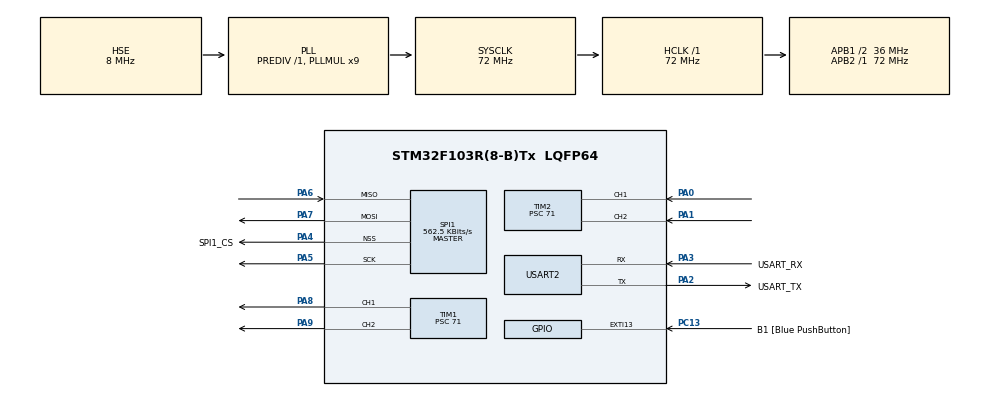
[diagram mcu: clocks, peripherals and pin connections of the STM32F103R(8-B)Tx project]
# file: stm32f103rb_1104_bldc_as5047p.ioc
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Mcu.Family=STM32F1
Mcu.Name=STM32F103R(8-B)Tx
Mcu.Package=LQFP64
NVIC.EXTI15_10_IRQn=true\:0\:0\:false\:false\:true\:true\:true\:true
NVIC.PriorityGroup=NVIC_PRIORITYGROUP_4
NVIC.TIM2_IRQn=true\:0\:0\:false\:false\:true\:true\:true\:true
PA0-WKUP.GPIO_PuPd=GPIO_PULLDOWN
PA0-WKUP.Signal=S_TIM2_CH1_ETR
PA1.Signal=S_TIM2_CH2
PA13.GPIO_Label=TMS
PA13.Mode=Serial_Wire
PA13.Signal=SYS_JTMS-SWDIO
PA14.GPIO_Label=TCK
PA14.Mode=Serial_Wire
PA14.Signal=SYS_JTCK-SWCLK
PA2.GPIO_Label=USART_TX
PA2.GPIO_Mode=GPIO_MODE_AF_PP
PA2.GPIO_PuPd=GPIO_NOPULL
PA2.GPIO_Speed=GPIO_SPEED_FREQ_LOW
PA2.Mode=Asynchronous
PA2.Signal=USART2_TX
PA3.GPIO_Label=USART_RX
PA3.GPIO_Mode=GPIO_MODE_AF_PP
PA3.GPIO_PuPd=GPIO_NOPULL
PA3.GPIO_Speed=GPIO_SPEED_FREQ_LOW
PA3.Mode=Asynchronous
PA3.Signal=USART2_RX
PA4.GPIO_Label=SPI1_CS
PA4.Mode=NSS_Signal_Hard_Output
PA4.Signal=SPI1_NSS
PA5.Mode=Full_Duplex_Master
PA5.Signal=SPI1_SCK
PA6.Mode=Full_Duplex_Master
PA6.Signal=SPI1_MISO
PA7.Mode=Full_Duplex_Master
PA7.Signal=SPI1_MOSI
PA8.Signal=S_TIM1_CH1
PA9.Signal=S_TIM1_CH2
PC13-TAMPER-RTC.GPIO_Label=B1 [Blue PushButton]
PC13-TAMPER-RTC.GPIO_PuPd=GPIO_NOPULL
PC13-TAMPER-RTC.Signal=GPXTI13
PC14-OSC32_IN.Mode=LSE-External-Oscillator
PC14-OSC32_IN.Signal=RCC_OSC32_IN
PC15-OSC32_OUT.Mode=LSE-External-Oscillator
PC15-OSC32_OUT.Signal=RCC_OSC32_OUT
PD0-OSC_IN.Mode=HSE-External-Clock-Source
PD0-OSC_IN.Signal=RCC_OSC_IN
PD1-OSC_OUT.Mode=HSE-External-Clock-Source
PD1-OSC_OUT.Signal=RCC_OSC_OUT
ProjectManager.HeapSize=0x200
ProjectManager.StackSize=0x400
ProjectManager.TargetToolchain=STM32CubeIDE
RCC.AHBFreq_Value=72000000
RCC.APB1CLKDivider=RCC_HCLK_DIV2
RCC.APB1Freq_Value=36000000
RCC.APB1TimFreq_Value=72000000
RCC.APB2Freq_Value=72000000
RCC.APB2TimFreq_Value=72000000
RCC.HCLKFreq_Value=72000000
RCC.PLLMUL=RCC_PLL_MUL9
RCC.PLLSourceVirtual=RCC_PLLSOURCE_HSE
RCC.RCC_MCOSource=RCC_MCO1SOURCE_HSI
RCC.RTCClockSelection=RCC_RTCCLKSOURCE_LSE
RCC.SYSCLKFreq_VALUE=72000000
RCC.SYSCLKSource=RCC_SYSCLKSOURCE_PLLCLK
RCC.USBFreq_Value=72000000
SH.S_TIM1_CH1.0=TIM1_CH1,PWM Generation1 CH1
SH.S_TIM1_CH2.0=TIM1_CH2,PWM Generation2 CH2
SH.S_TIM2_CH1_ETR.0=TIM2_CH1,Input_Capture1_from_TI1
SH.S_TIM2_CH2.0=TIM2_CH2,Input_Capture2_from_TI2
SPI1.BaudRatePrescaler=SPI_BAUDRATEPRESCALER_128
SPI1.CLKPhase=SPI_PHASE_2EDGE
SPI1.CalculateBaudRate=562.5 KBits/s
SPI1.Direction=SPI_DIRECTION_2LINES
SPI1.Mode=SPI_MODE_MASTER
SPI1.VirtualNSS=VM_NSSHARD
SPI1.VirtualType=VM_MASTER
TIM1.Channel-PWM\ Generation1\ CH1=TIM_CHANNEL_1
TIM1.Channel-PWM\ Generation2\ CH2=TIM_CHANNEL_2
TIM1.Period=19999
TIM1.Prescaler=71
TIM2.Channel-Input_Capture1_from_TI1=TIM_CHANNEL_1
TIM2.Channel-Input_Capture2_from_TI2=TIM_CHANNEL_2
TIM2.Period=65535
TIM2.Prescaler=71
USART2.VirtualMode=VM_ASYNC
VP_TIM1_VS_ClockSourceINT.Mode=Internal
VP_TIM2_VS_ClockSourceINT.Mode=Internal
board=NUCLEO-F103RB

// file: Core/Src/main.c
/* USER CODE BEGIN Header */
/**
  ******************************************************************************
  * @file           : main.c
  * @brief          : Main program body
  ******************************************************************************
  * @attention
  *
  * Copyright (c) 2024 STMicroelectronics.
  * All rights reserved.
  *
  * This software is licensed under terms that can be found in the LICENSE file
  * in the root directory of this software component.
  * If no LICENSE file comes with this software, it is provided AS-IS.
  *
  ******************************************************************************
  */
/* USER CODE END Header */
#include "main.h"

/* USER CODE BEGIN Includes */
#include <stdio.h>
#include "as5047p.h"
#ifdef __GNUC__
  #define PUTCHAR_PROTOTYPE int __io_putchar(int ch)
#else
  #define PUTCHAR_PROTOTYPE int fputc(int ch, FILE *f)
#endif /* __GNUC__ */
/* USER CODE END Includes */

SPI_HandleTypeDef hspi1;

TIM_HandleTypeDef htim1;
TIM_HandleTypeDef htim2;

UART_HandleTypeDef huart2;

/* USER CODE BEGIN PV */
as5047p_handle_t as5047p;
/* USER CODE END PV */

void SystemClock_Config(void);
static void MX_GPIO_Init(void);
static void MX_USART2_UART_Init(void);
static void MX_SPI1_Init(void);
static void MX_TIM1_Init(void);
static void MX_TIM2_Init(void);

/* USER CODE BEGIN 0 */
uint32_t prev_capture = 0;
uint32_t current_capture = 0;
uint32_t frequency = 0;

#define TIMCLOCK   72000000
#define PRESCALAR  72

uint32_t IC_Val1 = 0;
uint32_t IC_Val2 = 0;
uint32_t Difference = 0;
int Is_First_Captured = 0;

/* Measure Frequency */
//float frequency = 0;
//
//void HAL_TIM_IC_CaptureCallback(TIM_HandleTypeDef *htim)
//{
//	if (htim->Channel == HAL_TIM_ACTIVE_CHANNEL_1)
//	{
//		if (Is_First_Captured==0) // if the first rising edge is not captured
//		{
//			IC_Val1 = HAL_TIM_ReadCapturedValue(htim, TIM_CHANNEL_1); // read the first value
//			Is_First_Captured = 1;  // set the first captured as true
//		}
//
//		else   // If the first rising edge is captured, now we will capture the second edge
//		{
//			IC_Val2 = HAL_TIM_ReadCapturedValue(htim, TIM_CHANNEL_1);  // read second value
//
//			if (IC_Val2 > IC_Val1)
//			{
//				Difference = IC_Val2-IC_Val1;
//			}
//
//			else if (IC_Val1 > IC_Val2)
//			{
//				Difference = (0xffff - IC_Val1) + IC_Val2;
//			}
//
//			float refClock = TIMCLOCK/(PRESCALAR);
//
//			frequency = refClock/Difference;
//
//			__HAL_TIM_SET_COUNTER(htim, 0);  // reset the counter
//			Is_First_Captured = 0; // set it back to false
//		}
//	}
//}

/* Measure Width */
uint32_t usWidth = 0;

void HAL_TIM_IC_CaptureCallback(TIM_HandleTypeDef *htim) {
  if (htim->Channel == HAL_TIM_ACTIVE_CHANNEL_1) {
    if (Is_First_Captured == 0) {
      IC_Val1 = HAL_TIM_ReadCapturedValue(htim, TIM_CHANNEL_1);
      Is_First_Captured = 1;
    }
    else
    {
      IC_Val2 = HAL_TIM_ReadCapturedValue(htim, TIM_CHANNEL_2);

      if (IC_Val2 > IC_Val1) {
        Difference = IC_Val2 - IC_Val1;
      } else if (IC_Val1 > IC_Val2) {
        Difference = (0xFFFF - IC_Val1) + IC_Val2;
      }

      float refClock = HAL_RCC_GetPCLK1Freq();  // ?��??�PCLK1频�??
      float mFactor = 1000000 / refClock;

      float usWidth = Difference * mFactor;

      printf("Pulse Width: %.2f us\r\n", usWidth);

      __HAL_TIM_SET_COUNTER(htim, 0);
      Is_First_Captured = 0;
    }
  }
}

void printf_ENTER(){
	printf("\r\n");
}
void as5047p_spi_send(uint16_t data);
uint16_t as5047p_spi_read(void);
void as5047p_spi_select(void);
void as5047p_spi_deselect(void);
void as5047p_delay(void);

/* USER CODE END 0 */

int main(void)
{
  /* USER CODE BEGIN 1 */
	void as5047p_spi_send(uint16_t data)
	{
	  HAL_SPI_Transmit(&hspi1, (uint8_t *)&data, 1, HAL_MAX_DELAY);
	}

	uint16_t as5047p_spi_read(void)
	{
	  uint16_t data = 0;
	  HAL_SPI_Receive(&hspi1, (uint8_t *)&data, 1, HAL_MAX_DELAY);
	  return data;
	}

	void as5047p_spi_select(void)
	{
	  HAL_GPIO_WritePin(SPI1_CS_GPIO_Port, SPI1_CS_Pin, GPIO_PIN_RESET);
	}

	void as5047p_spi_deselect(void)
	{
	  HAL_GPIO_WritePin(SPI1_CS_GPIO_Port, SPI1_CS_Pin, GPIO_PIN_SET);
	}

	// For 't_CSn': High time of CSn between two transmissions, >350 ns.
	void as5047p_delay(void)
	{
	  HAL_Delay(10);
	}
  /* USER CODE END 1 */

  /* MCU Configuration--------------------------------------------------------*/

  /* Reset of all peripherals, Initializes the Flash interface and the Systick. */
  HAL_Init();

  /* Configure the system clock */
  SystemClock_Config();

  /* Initialize all configured peripherals */
  MX_GPIO_Init();
  MX_USART2_UART_Init();
  MX_SPI1_Init();
  MX_TIM1_Init();
  MX_TIM2_Init();
  /* USER CODE BEGIN 2 */
  TIM1->CCR1 = 9999;
  TIM1->CCR2 = 9999;

  HAL_TIM_PWM_Start(&htim1, TIM_CHANNEL_1);
  HAL_TIM_PWM_Start(&htim1, TIM_CHANNEL_2);
  HAL_TIM_IC_Start_IT(&htim2, TIM_CHANNEL_1);
  HAL_TIM_IC_Start_IT(&htim2, TIM_CHANNEL_2);
//  HAL_TIM_PWM_Start(&htim2, TIM_CHANNEL_1);
  printf("------------1104 DUAL BLDC speed control and encoder test--------------------------\r\n");
  as5047p_handle_t as5047p;

  as5047p_make_handle(&as5047p_spi_send,
                      &as5047p_spi_read,
                      &as5047p_spi_select,
                      &as5047p_spi_deselect,
                      &as5047p_delay,
                      &as5047p);

  as5047p_config(&as5047p, 0b00100101, 0b00000000);
  as5047p_set_zero(&as5047p, 0);

  printf("\r\nSTM32-AS5047P, Ready\r\n");
  /* USER CODE END 2 */

  /* Infinite loop */
  /* USER CODE BEGIN WHILE */
  while (1)
  {
//	  printf("test");
//	  printf_ENTER();
//	    // 读�?��?�获??
//	    current_capture = __HAL_TIM_GET_COMPARE(&htim2, TIM_CHANNEL_1);
//
//	    // 计�?��?��??
//	    if (current_capture >= prev_capture) {
//	      frequency = HAL_RCC_GetPCLK1Freq() / (current_capture - prev_capture);
//	    } else {
//	      frequency = 0;  // ?��??�溢?��等问�????
//	    }
//
//	    // ??�印频�??
//	    printf("Frequency: %lu Hz\r\n", frequency);
//
//	    prev_capture = current_capture;
//
	    HAL_Delay(100);  // ?��?��?�延迟�?�可以�?�整

	    void as5047p_spi_select();
	    //	  float angle;
	    //	  as5047p_get_angle(&as5047p, without_daec, &angle);
	    //	  printf("Angle: %3i\r\n", (int)angle);

	    	  float angle_deg;
	    	  int8_t error = as5047p_get_angle(&as5047p, 1, &angle_deg);

	    	  if (error == 0)
	    	  {
	    	      printf("Angle: %f\r\n", angle_deg);
	    	  }

	    	  uint16_t position;
	    	  error = as5047p_get_position(&as5047p, without_daec, &position);

	    	  if (error == 0)
	    	  {
	    	      printf("Raw: %5i\r\n", position);
	    	  }
    /* USER CODE END WHILE */

  }
}

void SystemClock_Config(void)
{
  RCC_OscInitTypeDef RCC_OscInitStruct = {0};
  RCC_ClkInitTypeDef RCC_ClkInitStruct = {0};

  /** Initializes the RCC Oscillators according to the specified parameters
  * in the RCC_OscInitTypeDef structure.
  */
  RCC_OscInitStruct.OscillatorType = RCC_OSCILLATORTYPE_HSE;
  RCC_OscInitStruct.HSEState = RCC_HSE_BYPASS;
  RCC_OscInitStruct.HSEPredivValue = RCC_HSE_PREDIV_DIV1;
  RCC_OscInitStruct.HSIState = RCC_HSI_ON;
  RCC_OscInitStruct.PLL.PLLState = RCC_PLL_ON;
  RCC_OscInitStruct.PLL.PLLSource = RCC_PLLSOURCE_HSE;
  RCC_OscInitStruct.PLL.PLLMUL = RCC_PLL_MUL9;
  if (HAL_RCC_OscConfig(&RCC_OscInitStruct) != HAL_OK)
  {
    Error_Handler();
  }

  /** Initializes the CPU, AHB and APB buses clocks
  */
  RCC_ClkInitStruct.ClockType = RCC_CLOCKTYPE_HCLK|RCC_CLOCKTYPE_SYSCLK
                              |RCC_CLOCKTYPE_PCLK1|RCC_CLOCKTYPE_PCLK2;
  RCC_ClkInitStruct.SYSCLKSource = RCC_SYSCLKSOURCE_PLLCLK;
  RCC_ClkInitStruct.AHBCLKDivider = RCC_SYSCLK_DIV1;
  RCC_ClkInitStruct.APB1CLKDivider = RCC_HCLK_DIV2;
  RCC_ClkInitStruct.APB2CLKDivider = RCC_HCLK_DIV1;

  if (HAL_RCC_ClockConfig(&RCC_ClkInitStruct, FLASH_LATENCY_2) != HAL_OK)
  {
    Error_Handler();
  }
}
static void MX_SPI1_Init(void)
{

  /* SPI1 parameter configuration*/
  hspi1.Instance = SPI1;
  hspi1.Init.Mode = SPI_MODE_MASTER;
  hspi1.Init.Direction = SPI_DIRECTION_2LINES;
  hspi1.Init.DataSize = SPI_DATASIZE_8BIT;
  hspi1.Init.CLKPolarity = SPI_POLARITY_LOW;
  hspi1.Init.CLKPhase = SPI_PHASE_2EDGE;
  hspi1.Init.NSS = SPI_NSS_HARD_OUTPUT;
  hspi1.Init.BaudRatePrescaler = SPI_BAUDRATEPRESCALER_128;
  hspi1.Init.FirstBit = SPI_FIRSTBIT_MSB;
  hspi1.Init.TIMode = SPI_TIMODE_DISABLE;
  hspi1.Init.CRCCalculation = SPI_CRCCALCULATION_DISABLE;
  hspi1.Init.CRCPolynomial = 10;
  if (HAL_SPI_Init(&hspi1) != HAL_OK)
  {
    Error_Handler();
  }

}

static void MX_TIM1_Init(void)
{

  TIM_ClockConfigTypeDef sClockSourceConfig = {0};
  TIM_MasterConfigTypeDef sMasterConfig = {0};
  TIM_OC_InitTypeDef sConfigOC = {0};
  TIM_BreakDeadTimeConfigTypeDef sBreakDeadTimeConfig = {0};

  htim1.Instance = TIM1;
  htim1.Init.Prescaler = 71;
  htim1.Init.CounterMode = TIM_COUNTERMODE_UP;
  htim1.Init.Period = 19999;
  htim1.Init.ClockDivision = TIM_CLOCKDIVISION_DIV1;
  htim1.Init.RepetitionCounter = 0;
  htim1.Init.AutoReloadPreload = TIM_AUTORELOAD_PRELOAD_DISABLE;
  if (HAL_TIM_Base_Init(&htim1) != HAL_OK)
  {
    Error_Handler();
  }
  sClockSourceConfig.ClockSource = TIM_CLOCKSOURCE_INTERNAL;
  if (HAL_TIM_ConfigClockSource(&htim1, &sClockSourceConfig) != HAL_OK)
  {
    Error_Handler();
  }
  if (HAL_TIM_PWM_Init(&htim1) != HAL_OK)
  {
    Error_Handler();
  }
  sMasterConfig.MasterOutputTrigger = TIM_TRGO_RESET;
  sMasterConfig.MasterSlaveMode = TIM_MASTERSLAVEMODE_DISABLE;
  if (HAL_TIMEx_MasterConfigSynchronization(&htim1, &sMasterConfig) != HAL_OK)
  {
    Error_Handler();
  }
  sConfigOC.OCMode = TIM_OCMODE_PWM1;
  sConfigOC.Pulse = 0;
  sConfigOC.OCPolarity = TIM_OCPOLARITY_HIGH;
  sConfigOC.OCNPolarity = TIM_OCNPOLARITY_HIGH;
  sConfigOC.OCFastMode = TIM_OCFAST_DISABLE;
  sConfigOC.OCIdleState = TIM_OCIDLESTATE_RESET;
  sConfigOC.OCNIdleState = TIM_OCNIDLESTATE_RESET;
  if (HAL_TIM_PWM_ConfigChannel(&htim1, &sConfigOC, TIM_CHANNEL_1) != HAL_OK)
  {
    Error_Handler();
  }
  if (HAL_TIM_PWM_ConfigChannel(&htim1, &sConfigOC, TIM_CHANNEL_2) != HAL_OK)
  {
    Error_Handler();
  }
  sBreakDeadTimeConfig.OffStateRunMode = TIM_OSSR_DISABLE;
  sBreakDeadTimeConfig.OffStateIDLEMode = TIM_OSSI_DISABLE;
  sBreakDeadTimeConfig.LockLevel = TIM_LOCKLEVEL_OFF;
  sBreakDeadTimeConfig.DeadTime = 0;
  sBreakDeadTimeConfig.BreakState = TIM_BREAK_DISABLE;
  sBreakDeadTimeConfig.BreakPolarity = TIM_BREAKPOLARITY_HIGH;
  sBreakDeadTimeConfig.AutomaticOutput = TIM_AUTOMATICOUTPUT_DISABLE;
  if (HAL_TIMEx_ConfigBreakDeadTime(&htim1, &sBreakDeadTimeConfig) != HAL_OK)
  {
    Error_Handler();
  }
  HAL_TIM_MspPostInit(&htim1);

}

static void MX_TIM2_Init(void)
{

  TIM_ClockConfigTypeDef sClockSourceConfig = {0};
  TIM_MasterConfigTypeDef sMasterConfig = {0};
  TIM_IC_InitTypeDef sConfigIC = {0};

  htim2.Instance = TIM2;
  htim2.Init.Prescaler = 71;
  htim2.Init.CounterMode = TIM_COUNTERMODE_UP;
  htim2.Init.Period = 65535;
  htim2.Init.ClockDivision = TIM_CLOCKDIVISION_DIV1;
  htim2.Init.AutoReloadPreload = TIM_AUTORELOAD_PRELOAD_DISABLE;
  if (HAL_TIM_Base_Init(&htim2) != HAL_OK)
  {
    Error_Handler();
  }
  sClockSourceConfig.ClockSource = TIM_CLOCKSOURCE_INTERNAL;
  if (HAL_TIM_ConfigClockSource(&htim2, &sClockSourceConfig) != HAL_OK)
  {
    Error_Handler();
  }
  if (HAL_TIM_IC_Init(&htim2) != HAL_OK)
  {
    Error_Handler();
  }
  sMasterConfig.MasterOutputTrigger = TIM_TRGO_RESET;
  sMasterConfig.MasterSlaveMode = TIM_MASTERSLAVEMODE_DISABLE;
  if (HAL_TIMEx_MasterConfigSynchronization(&htim2, &sMasterConfig) != HAL_OK)
  {
    Error_Handler();
  }
  sConfigIC.ICPolarity = TIM_INPUTCHANNELPOLARITY_RISING;
  sConfigIC.ICSelection = TIM_ICSELECTION_DIRECTTI;
  sConfigIC.ICPrescaler = TIM_ICPSC_DIV1;
  sConfigIC.ICFilter = 0;
  if (HAL_TIM_IC_ConfigChannel(&htim2, &sConfigIC, TIM_CHANNEL_1) != HAL_OK)
  {
    Error_Handler();
  }
  if (HAL_TIM_IC_ConfigChannel(&htim2, &sConfigIC, TIM_CHANNEL_2) != HAL_OK)
  {
    Error_Handler();
  }

}

static void MX_USART2_UART_Init(void)
{

  huart2.Instance = USART2;
  huart2.Init.BaudRate = 115200;
  huart2.Init.WordLength = UART_WORDLENGTH_8B;
  huart2.Init.StopBits = UART_STOPBITS_1;
  huart2.Init.Parity = UART_PARITY_NONE;
  huart2.Init.Mode = UART_MODE_TX_RX;
  huart2.Init.HwFlowCtl = UART_HWCONTROL_NONE;
  huart2.Init.OverSampling = UART_OVERSAMPLING_16;
  if (HAL_UART_Init(&huart2) != HAL_OK)
  {
    Error_Handler();
  }

}

static void MX_GPIO_Init(void)
{
  GPIO_InitTypeDef GPIO_InitStruct = {0};

  /* GPIO Ports Clock Enable */
  __HAL_RCC_GPIOC_CLK_ENABLE();
  __HAL_RCC_GPIOD_CLK_ENABLE();
  __HAL_RCC_GPIOA_CLK_ENABLE();

  /*Configure GPIO pin : B1_Pin */
  GPIO_InitStruct.Pin = B1_Pin;
  GPIO_InitStruct.Mode = GPIO_MODE_IT_RISING;
  GPIO_InitStruct.Pull = GPIO_NOPULL;
  HAL_GPIO_Init(B1_GPIO_Port, &GPIO_InitStruct);

  /* EXTI interrupt init*/
  HAL_NVIC_SetPriority(EXTI15_10_IRQn, 0, 0);
  HAL_NVIC_EnableIRQ(EXTI15_10_IRQn);

}

/* USER CODE BEGIN 4 */

PUTCHAR_PROTOTYPE
{
HAL_UART_Transmit(&huart2, (uint8_t *)&ch, 1, 0xFFFF);
return ch;
}
/* USER CODE END 4 */

void Error_Handler(void)
{
  __disable_irq();
  while (1)
  {
  }
}
